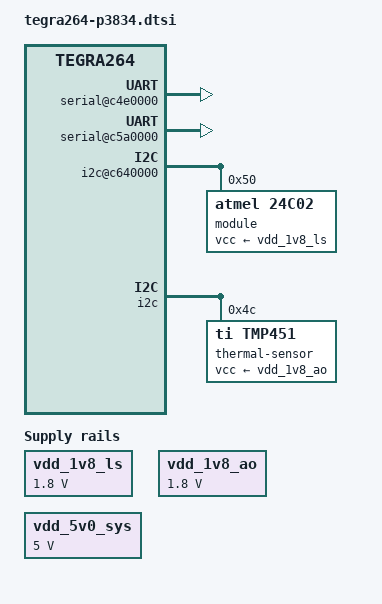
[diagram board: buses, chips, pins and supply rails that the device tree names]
// SPDX-License-Identifier: GPL-2.0-only OR BSD-2-Clause

#include "tegra264.dtsi"

/ {
	compatible = "nvidia,p3834", "nvidia,tegra264";

	aliases {
	};

	bus@0 {
		dma-controller@8400000 {
			status = "okay";
		};

		serial@c4e0000 {
			status = "okay";
		};

		serial@c5a0000 {
			status = "okay";
		};
	};

	bus@8100000000 {
		iommu@5000000 {
			status = "okay";
		};

		cmdqv@5200000 {
			status = "okay";
		};

		iommu@6000000 {
			status = "okay";
		};

		cmdqv@6200000 {
			status = "okay";
		};

		i2c@c640000 {
			status = "okay";

			eeprom@50 {
				compatible = "atmel,24c02";
				reg = <0x50>;
				label = "module";
				vcc-supply = <&vdd_1v8_ls>;
				address-width = <8>;
				pagesize = <8>;
				size = <256>;
				read-only;
			};
		};
	};

	bpmp {
		i2c {
			status = "okay";

			thermal-sensor@4c {
				compatible = "ti,tmp451";
				reg = <0x4c>;
				vcc-supply = <&vdd_1v8_ao>;
			};
		};
	};

	vdd_1v8_ls: regulator-vdd-1v8-ls {
		compatible = "regulator-fixed";
		regulator-name = "VDD_1V8_LS";
		regulator-min-microvolt = <1800000>;
		regulator-max-microvolt = <1800000>;
		vcc-supply = <&vdd_1v8_ao>;
		regulator-always-on;
	};

	vdd_1v8_ao: regulator-vdd-1v8-ao {
		compatible = "regulator-fixed";
		regulator-name = "VDD_1V8_AO";
		regulator-min-microvolt = <1800000>;
		regulator-max-microvolt = <1800000>;
		vcc-supply = <&vdd_5v0_sys>;
		regulator-always-on;
	};

	vdd_5v0_sys: regulator-vdd-5v0-sys {
		compatible = "regulator-fixed";
		regulator-name = "VIN_SYS_5V0";
		regulator-min-microvolt = <5000000>;
		regulator-max-microvolt = <5000000>;
		regulator-always-on;
		regulator-boot-on;
	};

	thermal-zones {
		cpu-thermal {
			polling-delay-passive = <40>;
			polling-delay = <1000>;
			status = "okay";
		};

		gpu-thermal {
			polling-delay-passive = <40>;
			polling-delay = <1000>;
			status = "okay";
		};

		soc012-thermal {
			polling-delay-passive = <40>;
			polling-delay = <1000>;
			status = "okay";
		};

		soc345-thermal {
			polling-delay-passive = <40>;
			polling-delay = <1000>;
			status = "okay";
		};

		tj-thermal {
			polling-delay-passive = <40>;
			polling-delay = <1000>;
			status = "okay";
		};
	};
};
